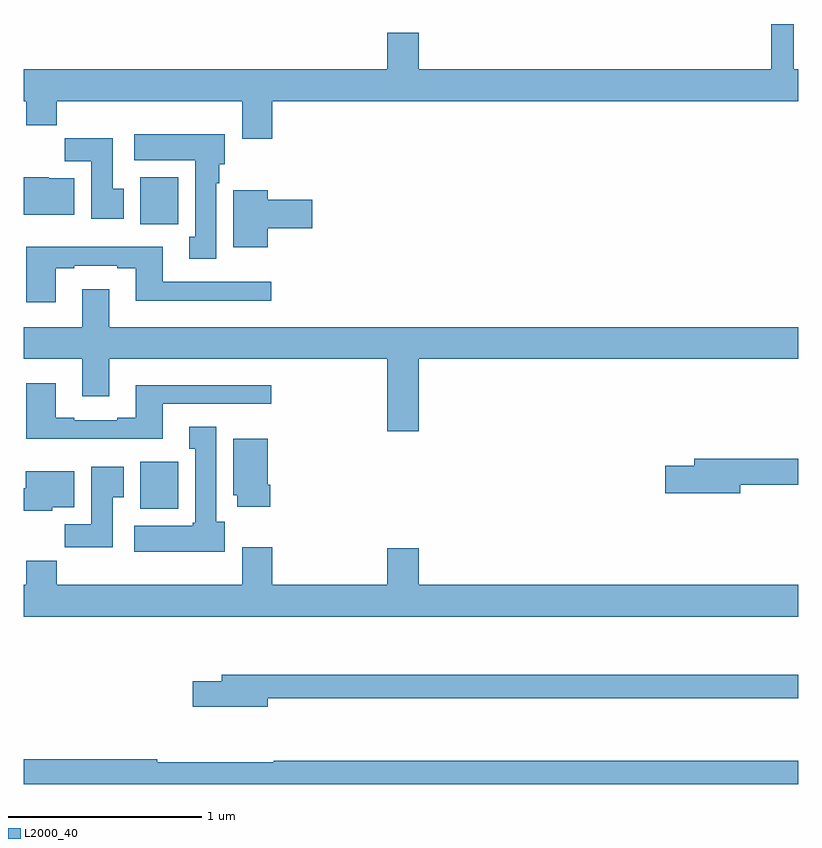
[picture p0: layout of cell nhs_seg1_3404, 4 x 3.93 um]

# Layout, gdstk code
import gdstk
lib = gdstk.Library(unit=1e-6, precision=1e-09)
def R(c, l, rs):  # rectangles x0, y0, x1, y1
    for r in rs: c.add(gdstk.rectangle(r[:2], r[2:], *l))
def P(c, l, *ps):  # polygons
    for p in ps: c.add(gdstk.Polygon(p, *l))
L2000_40 = (2000, 40)

nhs_seg1_3404 = lib.new_cell('nhs_seg1_3404')
R(nhs_seg1_3404, L2000_40, [(295.601,553.622,295.798,553.864), (295.601,555.092,295.798,555.334)])
P(nhs_seg1_3404, L2000_40, [(296.282,555.728),(299,555.728),(299,555.892),(298.979,555.892),(298.979,556.126),(298.861,556.126),(298.861,555.892),(297.04,555.892),(297.04,556.081),(296.876,556.081),(296.876,555.892),(295,555.892),(295,555.728),(295.013,555.728),(295.013,555.604),(295.169,555.604),(295.169,555.728),(296.129,555.728),(296.129,555.534),(296.282,555.534)],
  [(295.993,555.302),(296.008,555.302),(296.008,555.402),(296.038,555.402),(296.038,555.556),(295.569,555.556),(295.569,555.422),(295.886,555.422),(295.886,555.026),(295.853,555.026),(295.853,554.913),(295.993,554.913)],
  [(295.516,555.276),(295.459,555.276),(295.459,555.535),(295.21,555.535),(295.21,555.416),(295.349,555.416),(295.349,555.12),(295.516,555.12)],
  [(295.261,555.328),(295.128,555.328),(295.128,555.334),(295,555.334),(295,555.14),(295.261,555.14)],
  [(296.26,555.071),(296.491,555.071),(296.491,555.218),(296.26,555.218),(296.26,555.268),(296.081,555.268),(296.081,554.972),(296.26,554.972)],
  [(295.165,554.865),(295.261,554.865),(295.261,554.877),(295.481,554.877),(295.481,554.865),(295.577,554.865),(295.577,554.696),(296.278,554.696),(296.278,554.793),(295.717,554.793),(295.717,554.974),(295.013,554.974),(295.013,554.688),(295.165,554.688)],
  [(297.04,554.396),(299,554.396),(299,554.56),(295.441,554.56),(295.441,554.755),(295.301,554.755),(295.301,554.56),(295,554.56),(295,554.396),(295.301,554.396),(295.301,554.202),(295.441,554.202),(295.441,554.396),(296.876,554.396),(296.876,554.022),(297.04,554.022)],
  [(295.717,554.163),(296.278,554.163),(296.278,554.26),(295.577,554.26),(295.577,554.092),(295.481,554.092),(295.481,554.079),(295.261,554.079),(295.261,554.092),(295.165,554.092),(295.165,554.269),(295.013,554.269),(295.013,553.982),(295.717,553.982)],
  [(296.038,553.554),(295.993,553.554),(295.993,554.044),(295.853,554.044),(295.853,553.931),(295.886,553.931),(295.886,553.548),(295.873,553.548),(295.873,553.534),(295.569,553.534),(295.569,553.4),(296.038,553.4)],
  [(296.273,553.744),(296.26,553.744),(296.26,553.984),(296.081,553.984),(296.081,553.692),(296.102,553.692),(296.102,553.632),(296.273,553.632)],
  [(298.702,553.744),(299,553.744),(299,553.88),(298.463,553.88),(298.463,553.844),(298.314,553.844),(298.314,553.702),(298.702,553.702)],
  [(295.459,553.681),(295.516,553.681),(295.516,553.837),(295.349,553.837),(295.349,553.54),(295.21,553.54),(295.21,553.422),(295.459,553.422)],
  [(295.146,553.628),(295.261,553.628),(295.261,553.816),(295.01,553.816),(295.01,553.728),(295,553.728),(295,553.61),(295.146,553.61)],
  [(299,553.228),(297.04,553.228),(297.04,553.417),(296.876,553.417),(296.876,553.228),(296.282,553.228),(296.282,553.423),(296.129,553.423),(296.129,553.228),(295.169,553.228),(295.169,553.352),(295.013,553.352),(295.013,553.228),(295,553.228),(295,553.064),(299,553.064)],
  [(296.26,552.642),(299,552.642),(299,552.763),(296.021,552.763),(296.021,552.729),(295.872,552.729),(295.872,552.599),(296.26,552.599)],
  [(299,552.319),(296.29,552.319),(296.29,552.311),(295.69,552.311),(295.69,552.326),(295,552.326),(295,552.199),(299,552.199)])

lib.write_gds('nhs_seg1_3404.gds')
